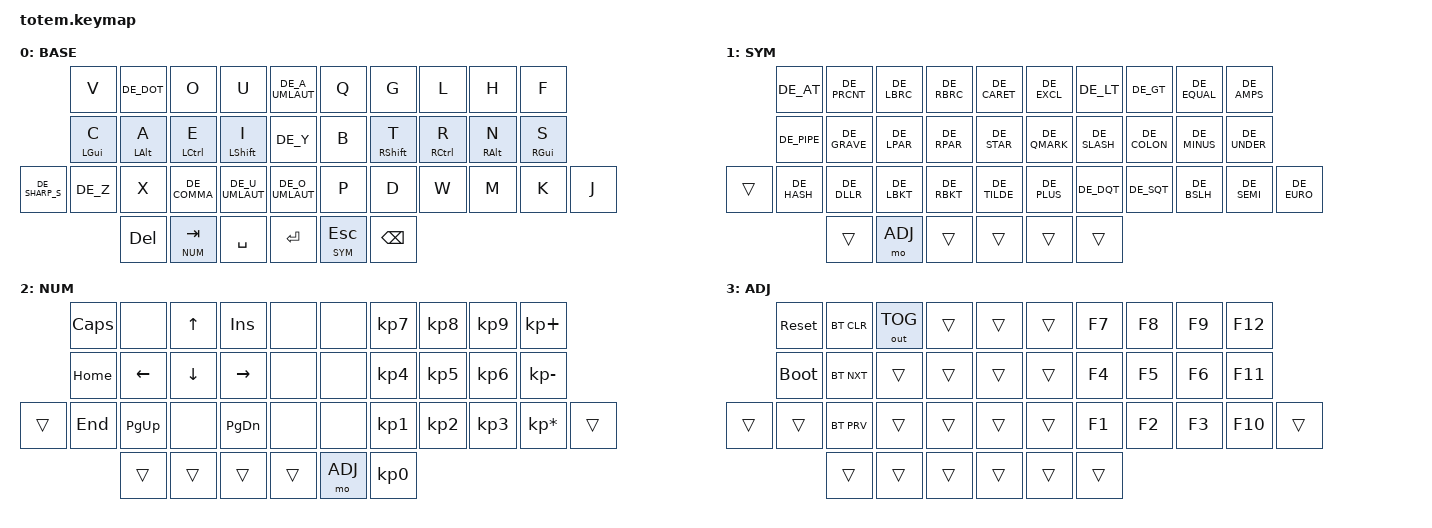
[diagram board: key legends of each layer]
//
//                                                        ▀▀▀▀▀     ▀▀▀▀▀          ▀▀█▀▀
//                                                        ▄▀▀▀▄  ▄  ▄▀▀▀▄  ▄  ▄▀▀▀▄  █  ▄▀▀▀▄
//                                                        █   █  █  █   █  █  █   █  █  █   █
//                                                         ▀▀▀   █   ▀▀▀   █   ▀▀▀   ▀   ▀▀▀
//                                                               █      ▄▄▄█▄▄▄    █   █  
//                                                               ▀      █  █  █     █▄█
//                                                             ▀▀▀▀▀    █  █  █      ▀
//                                                                      ▀  ▀  ▀
//
// ▄▄▄▄▄▄▄▄▄▄▄▄▄▄▄▄▄▄▄▄▄▄▄▄▄▄▄▄▄▄▄▄▄▄▄▄▄▄▄▄▄▄▄▄▄▄▄▄▄▄▄▄▄▄▄▄▄▄▄▄▄▄▄▄▄▄▄▄▄▄▄▄▄▄▄▄▄▄▄▄▄▄▄▄▄▄▄▄▄▄▄▄▄▄▄▄▄▄▄▄▄▄▄▄▄▄▄▄▄▄▄▄▄▄▄▄▄▄▄▄▄▄▄▄▄▄▄▄▄▄▄▄▄▄▄▄▄▄▄▄▄▄▄▄▄▄▄▄▄
       

#include <behaviors.dtsi>
#include <dt-bindings/zmk/keys.h>
#include <dt-bindings/zmk/bt.h>
#include <dt-bindings/zmk/outputs.h>
#include "keys_de.h"

#define BASE 0
#define SYM  1
#define NUM  2
#define ADJ  3

&mt {
  quick-tap-ms = <100>;
  global-quick-tap;
  flavor = "tap-preferred";
  tapping-term-ms = <200>;
};

/ {
     combos {
            compatible = "zmk,combos";
            combo_esc {
                timeout-ms = <50>;
                key-positions = <0 1>;
                bindings = <&kp ESC>;
            };
    };

    macros {
    };

        keymap {
                compatible = "zmk,keymap";
// ▄▄▄▄▄▄▄▄▄▄▄▄▄▄▄▄▄▄▄▄▄▄▄▄▄▄▄▄▄▄▄▄▄▄▄▄▄▄▄▄▄▄▄▄▄▄▄▄▄▄▄▄▄▄▄▄▄▄▄▄▄▄▄▄▄▄▄▄▄▄▄▄▄▄▄▄▄▄▄▄▄▄▄▄▄▄▄▄▄▄▄▄▄▄▄▄▄▄▄▄▄▄▄▄▄▄▄▄▄▄▄▄▄▄▄▄▄▄▄▄▄▄▄▄▄▄▄▄▄▄▄▄▄▄▄▄▄▄▄▄▄▄▄▄▄▄▄▄▄

                base_layer {
// ┏━━━━━━━━━━━━━━━━━━━━━━━━━━━━━━━━━━━━━━━┓
label= "BASE"                              ;
// ┗━━━━━━━━━━━━━━━━━━━━━━━━━━━━━━━━━━━━━━━┛
//             ┏━━━━━━━━━━━┳━━━━━━━━━━━┳━━━━━━━━━━━┳━━━━━━━━━━━┳━━━━━━━━━━━┓   ┏━━━━━━━━━━━┳━━━━━━━━━━━┳━━━━━━━━━━━┳━━━━━━━━━━━┳━━━━━━━━━━━┓
//             ┃     V     ┃     .     ┃     O     ┃     U     ┃     Ä     ┃   ┃     Q     ┃     G     ┃     L     ┃     H     ┃     F     ┃
//             ┣━━━━━━━━━━━╋━━━━━━━━━━━╋━━━━━━━━━━━╋━━━━━━━━━━━╋━━━━━━━━━━━┫   ┣━━━━━━━━━━━╋━━━━━━━━━━━╋━━━━━━━━━━━╋━━━━━━━━━━━╋━━━━━━━━━━━┫
//             ┃     C     ┃     A     ┃     E     ┃     I     ┃     Y     ┃   ┃     B     ┃     T     ┃     R     ┃     N     ┃     S     ┃
// ┏━━━━━━━━━━━╋━━━━━━━━━━━╋━━━━━━━━━━━╋━━━━━━━━━━━╋━━━━━━━━━━━╋━━━━━━━━━━━┫   ┣━━━━━━━━━━━╋━━━━━━━━━━━╋━━━━━━━━━━━╋━━━━━━━━━━━╋━━━━━━━━━━━╋━━━━━━━━━━━┓
// ┃           ┃     Z     ┃     X     ┃     ,     ┃     Ü     ┃     Ö     ┃   ┃     P     ┃     D     ┃     W     ┃     M     ┃     K     ┃     J     ┃
// ┗━━━━━━━━━━━┻━━━━━━━━━━━┻━━━━━━━━━━━╋━━━━━━━━━━━╋━━━━━━━━━━━╋━━━━━━━━━━━┫   ┣━━━━━━━━━━━╋━━━━━━━━━━━╋━━━━━━━━━━━╋━━━━━━━━━━━┻━━━━━━━━━━━┻━━━━━━━━━━━┛
//                                     ┃    DEL    ┃    TAB    ┃    SPC    ┃   ┃   ENTER   ┃    ESC    ┃   BSPC    ┃
//                                     ┗━━━━━━━━━━━┻━━━━━━━━━━━┻━━━━━━━━━━━┛   ┗━━━━━━━━━━━┻━━━━━━━━━━━┻━━━━━━━━━━━┛
 bindings = <
// ╷           ╷           ╷           ╷             ╷                ╷               ╷   ╷           ╷           ╷           ╷           ╷           ╷           ╷

                &kp V       &kp DE_DOT  &kp O         &kp U            &kp DE_A_UMLAUT     &kp Q       &kp G       &kp L       &kp H       &kp F
                &mt LGUI C  &mt LALT A  &mt LCTRL E   &mt LSHFT I      &kp DE_Y            &kp B       &mt RSHFT T &mt RCTRL R &mt RALT N  &mt RGUI S
    &kp DE_SHARP_S       &kp DE_Z       &kp X       &kp DE_COMMA  &kp DE_U_UMLAUT  &kp DE_O_UMLAUT     &kp P       &kp D       &kp W       &kp M       &kp K        &kp J
                                        &kp DEL       &lt NUM TAB      &kp SPACE           &kp RET     &lt SYM ESC   &kp BSPC
                        >;
                };

// ▄▄▄▄▄▄▄▄▄▄▄▄▄▄▄▄▄▄▄▄▄▄▄▄▄▄▄▄▄▄▄▄▄▄▄▄▄▄▄▄▄▄▄▄▄▄▄▄▄▄▄▄▄▄▄▄▄▄▄▄▄▄▄▄▄▄▄▄▄▄▄▄▄▄▄▄▄▄▄▄▄▄▄▄▄▄▄▄▄▄▄▄▄▄▄▄▄▄▄▄▄▄▄▄▄▄▄▄▄▄▄▄▄▄▄▄▄▄▄▄▄▄▄▄▄▄▄▄▄▄▄▄▄▄▄▄▄▄▄▄▄▄▄▄▄▄▄▄▄


                sym_layer {
// ┏━━━━━━━━━━━━━━━━━━━━━━━━━━━━━━━━━━━━━━━┓
label= "SYM"                               ;
// ┗━━━━━━━━━━━━━━━━━━━━━━━━━━━━━━━━━━━━━━━┛
//             ┏━━━━━━━━━━━┳━━━━━━━━━━━┳━━━━━━━━━━━┳━━━━━━━━━━━┳━━━━━━━━━━━┓   ┏━━━━━━━━━━━┳━━━━━━━━━━━┳━━━━━━━━━━━┳━━━━━━━━━━━┳━━━━━━━━━━━┓
//             ┃     !     ┃     @     ┃     #     ┃     $     ┃     %     ┃   ┃     ˆ     ┃     &     ┃     Ü     ┃     '     ┃     "     ┃
//             ┣━━━━━━━━━━━╋━━━━━━━━━━━╋━━━━━━━━━━━╋━━━━━━━━━━━╋━━━━━━━━━━━┫   ┣━━━━━━━━━━━╋━━━━━━━━━━━╋━━━━━━━━━━━╋━━━━━━━━━━━╋━━━━━━━━━━━┫
//             ┃     Ä     ┃           ┃    SZ     ┃           ┃           ┃   ┃   MUTE    ┃   YEN     ┃   EURO    ┃  POUND    ┃     Ö     ┃
// ┏━━━━━━━━━━━╋━━━━━━━━━━━╋━━━━━━━━━━━╋━━━━━━━━━━━╋━━━━━━━━━━━╋━━━━━━━━━━━┫   ┣━━━━━━━━━━━╋━━━━━━━━━━━╋━━━━━━━━━━━╋━━━━━━━━━━━╋━━━━━━━━━━━╋━━━━━━━━━━━┓
// ┃           ┃  EMAIL1   ┃  EMAIL2   ┃           ┃           ┃           ┃   ┃   VOL-    ┃   VOL+    ┃   LAST    ┃   NEXT    ┃     \     ┃           ┃
// ┗━━━━━━━━━━━┻━━━━━━━━━━━┻━━━━━━━━━━━╋━━━━━━━━━━━╋━━━━━━━━━━━╋━━━━━━━━━━━┫   ┣━━━━━━━━━━━╋━━━━━━━━━━━╋━━━━━━━━━━━╋━━━━━━━━━━━┻━━━━━━━━━━━┻━━━━━━━━━━━┛
//                                     ┃           ┃    GIF    ┃    ADJ    ┃   ┃           ┃           ┃           ┃
//                                     ┗━━━━━━━━━━━┻━━━━━━━━━━ ┻━━━━━━━━━━━┛   ┗━━━━━━━━━━━┻━━━━━━━━━━━┻━━━━━━━━━━━┛
 bindings = <
// ╷           ╷           ╷               ╷              ╷              ╷             ╷   ╷              ╷           ╷           ╷             ╷           ╷           ╷

                &kp DE_AT     &kp DE_PRCNT  &kp DE_LBRC  &kp DE_RBRC  &kp DE_CARET       &kp DE_EXCL   &kp DE_LT    &kp DE_GT    &kp DE_EQUAL &kp DE_AMPS      
                &kp DE_PIPE  &kp DE_GRAVE  &kp DE_LPAR  &kp DE_RPAR  &kp DE_STAR        &kp DE_QMARK  &kp DE_SLASH &kp DE_COLON &kp DE_MINUS &kp DE_UNDER 
    &trans      &kp DE_HASH   &kp DE_DLLR   &kp DE_LBKT  &kp DE_RBKT  &kp DE_TILDE       &kp DE_PLUS   &kp DE_DQT   &kp DE_SQT &kp DE_BSLH  &kp DE_SEMI   &kp DE_EURO         
                                            &trans         &mo ADJ        &trans             &trans        &trans       &trans      
                        >;
                };

// ▄▄▄▄▄▄▄▄▄▄▄▄▄▄▄▄▄▄▄▄▄▄▄▄▄▄▄▄▄▄▄▄▄▄▄▄▄▄▄▄▄▄▄▄▄▄▄▄▄▄▄▄▄▄▄▄▄▄▄▄▄▄▄▄▄▄▄▄▄▄▄▄▄▄▄▄▄▄▄▄▄▄▄▄▄▄▄▄▄▄▄▄▄▄▄▄▄▄▄▄▄▄▄▄▄▄▄▄▄▄▄▄▄▄▄▄▄▄▄▄▄▄▄▄▄▄▄▄▄▄▄▄▄▄▄▄▄▄▄▄▄▄▄▄▄▄▄▄▄


                num_layer {
// ┏━━━━━━━━━━━━━━━━━━━━━━━━━━━━━━━━━━━━━━━┓
label= "NUM"                              ;
// ┗━━━━━━━━━━━━━━━━━━━━━━━━━━━━━━━━━━━━━━━┛
//             ┏━━━━━━━━━━━┳━━━━━━━━━━━┳━━━━━━━━━━━┳━━━━━━━━━━━┳━━━━━━━━━━━┓   ┏━━━━━━━━━━━┳━━━━━━━━━━━┳━━━━━━━━━━━┳━━━━━━━━━━━┳━━━━━━━━━━━┓
//             ┃  CAPSLCK  ┃           ┃     UP    ┃           ┃           ┃   ┃           ┃     7     ┃     8     ┃     9     ┃     +     ┃
//             ┣━━━━━━━━━━━╋━━━━━━━━━━━╋━━━━━━━━━━━╋━━━━━━━━━━━╋━━━━━━━━━━━┫   ┣━━━━━━━━━━━╋━━━━━━━━━━━╋━━━━━━━━━━━╋━━━━━━━━━━━╋━━━━━━━━━━━┫
//             ┃    HOME   ┃   LEFT    ┃    DOWN   ┃   RIGHT   ┃           ┃   ┃           ┃     4     ┃     5     ┃     6     ┃     -     ┃
// ┏━━━━━━━━━━━╋━━━━━━━━━━━╋━━━━━━━━━━━╋━━━━━━━━━━━╋━━━━━━━━━━━╋━━━━━━━━━━━┫   ┣━━━━━━━━━━━╋━━━━━━━━━━━╋━━━━━━━━━━━╋━━━━━━━━━━━╋━━━━━━━━━━━╋━━━━━━━━━━━┓
// ┃           ┃    END    ┃   P UP    ┃           ┃  P DOWN   ┃           ┃   ┃           ┃     1     ┃     2     ┃     3     ┃     *     ┃           ┃
// ┗━━━━━━━━━━━┻━━━━━━━━━━━┻━━━━━━━━━━━╋━━━━━━━━━━━╋━━━━━━━━━━━╋━━━━━━━━━━━┫   ┣━━━━━━━━━━━╋━━━━━━━━━━━╋━━━━━━━━━━━╋━━━━━━━━━━━┻━━━━━━━━━━━┻━━━━━━━━━━━┛
//                                     ┃           ┃    TAB    ┃    SPC    ┃   ┃    DEL    ┃    ADJ    ┃     0     ┃
//                                     ┗━━━━━━━━━━━┻━━━━━━━━━━━┻━━━━━━━━━━━┛   ┗━━━━━━━━━━━┻━━━━━━━━━━━┻━━━━━━━━━━━┛
 bindings = <
// ╷           ╷           ╷           ╷           ╷           ╷           ╷   ╷           ╷           ╷           ╷           ╷           ╷           ╷

                &kp CAPS    &none       &kp UP      &kp INS     &none           &none       &kp KP_N7   &kp KP_N8   &kp KP_N9   &kp KP_PLUS
                &kp HOME    &kp LEFT    &kp DOWN    &kp RIGHT   &none           &none       &kp KP_N4   &kp KP_N5   &kp KP_N6   &kp KP_MINUS
    &trans      &kp END     &kp PG_UP   &none       &kp PG_DN   &none           &none       &kp KP_N1   &kp KP_N2   &kp KP_N3   &kp KP_MULTIPLY &trans      
                                        &trans      &trans      &trans          &trans      &mo ADJ     &kp KP_N0   
                        >;
                };

// ▄▄▄▄▄▄▄▄▄▄▄▄▄▄▄▄▄▄▄▄▄▄▄▄▄▄▄▄▄▄▄▄▄▄▄▄▄▄▄▄▄▄▄▄▄▄▄▄▄▄▄▄▄▄▄▄▄▄▄▄▄▄▄▄▄▄▄▄▄▄▄▄▄▄▄▄▄▄▄▄▄▄▄▄▄▄▄▄▄▄▄▄▄▄▄▄▄▄▄▄▄▄▄▄▄▄▄▄▄▄▄▄▄▄▄▄▄▄▄▄▄▄▄▄▄▄▄▄▄▄▄▄▄▄▄▄▄▄▄▄▄▄▄▄▄▄▄▄▄


                adjust_layer {
// ┏━━━━━━━━━━━━━━━━━━━━━━━━━━━━━━━━━━━━━━━┓
label= "ADJ"                               ;
// ┗━━━━━━━━━━━━━━━━━━━━━━━━━━━━━━━━━━━━━━━┛
//             ┏━━━━━━━━━━━┳━━━━━━━━━━━┳━━━━━━━━━━━┳━━━━━━━━━━━┳━━━━━━━━━━━┓   ┏━━━━━━━━━━━┳━━━━━━━━━━━┳━━━━━━━━━━━┳━━━━━━━━━━━┳━━━━━━━━━━━┓
//             ┃   RESET   ┃ BT CLEAR  ┃  OUT TOG  ┃           ┃           ┃   ┃           ┃    F7     ┃    F8     ┃    F9     ┃    F12    ┃
//             ┣━━━━━━━━━━━╋━━━━━━━━━━━╋━━━━━━━━━━━╋━━━━━━━━━━━╋━━━━━━━━━━━┫   ┣━━━━━━━━━━━╋━━━━━━━━━━━╋━━━━━━━━━━━╋━━━━━━━━━━━╋━━━━━━━━━━━┫
//             ┃ BOOTLOAD  ┃ BT NEXT   ┃           ┃           ┃           ┃   ┃           ┃    F4     ┃    F5     ┃    F6     ┃    F11    ┃
// ┏━━━━━━━━━━━╋━━━━━━━━━━━╋━━━━━━━━━━━╋━━━━━━━━━━━╋━━━━━━━━━━━╋━━━━━━━━━━━┫   ┣━━━━━━━━━━━╋━━━━━━━━━━━╋━━━━━━━━━━━╋━━━━━━━━━━━╋━━━━━━━━━━━╋━━━━━━━━━━━┓
// ┃           ┃           ┃ BT PREV   ┃           ┃           ┃           ┃   ┃           ┃    F1     ┃    F2     ┃    F3     ┃    F10    ┃           ┃
// ┗━━━━━━━━━━━┻━━━━━━━━━━━┻━━━━━━━━━━━╋━━━━━━━━━━━╋━━━━━━━━━━━╋━━━━━━━━━━━┫   ┣━━━━━━━━━━━╋━━━━━━━━━━━╋━━━━━━━━━━━╋━━━━━━━━━━━┻━━━━━━━━━━━┻━━━━━━━━━━━┛
//                                     ┃           ┃           ┃           ┃   ┃           ┃           ┃           ┃
//                                     ┗━━━━━━━━━━━┻━━━━━━━━━━━┻━━━━━━━━━━━┛   ┗━━━━━━━━━━━┻━━━━━━━━━━━┻━━━━━━━━━━━┛
 bindings = <
// ╷           ╷           ╷           ╷           ╷           ╷           ╷   ╷           ╷           ╷           ╷           ╷           ╷           ╷

                &sys_reset  &bt BT_CLR  &out OUT_TOG &trans      &trans          &trans      &kp F7      &kp F8      &kp F9      &kp F12
                &bootloader &bt BT_NXT  &trans      &trans      &trans          &trans      &kp F4      &kp F5      &kp F6      &kp F11  
    &trans      &trans      &bt BT_PRV  &trans      &trans      &trans          &trans      &kp F1      &kp F2      &kp F3      &kp F10     &trans         
                                        &trans      &trans      &trans          &trans      &trans      &trans      
                        >;
                };
        };
};
